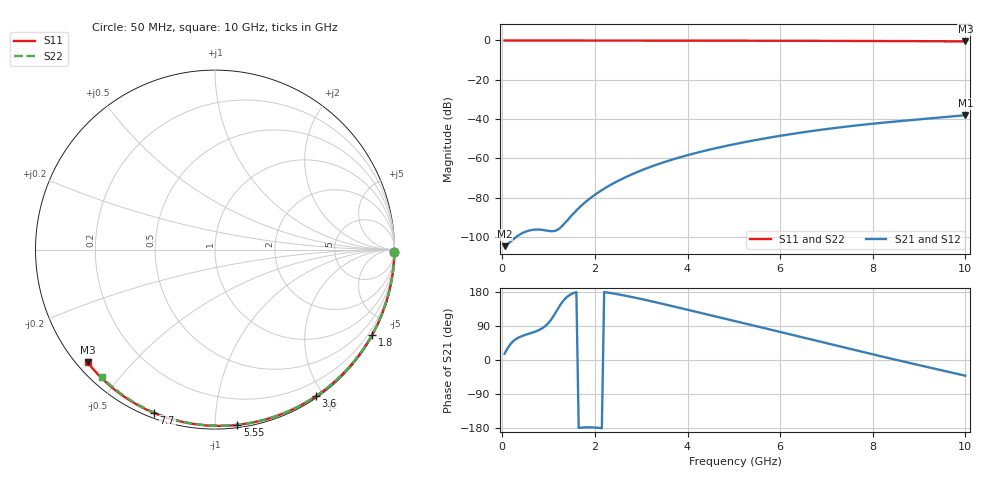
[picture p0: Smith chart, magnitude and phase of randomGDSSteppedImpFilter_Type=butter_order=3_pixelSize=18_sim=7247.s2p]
! freq	dB(S11)	phase(S11)	dB(S12)	phase(S12)
!  dB(S21)	phase(S21)	dB(S22)	phase(S22)
!S-par simulation data
#  GHz  S  DB  R 50
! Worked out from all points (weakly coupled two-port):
!   200 points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, 50 MHz to 10 GHz, reference 50 ohm
!   highest |S21| = -38.06 dB at 10 GHz (marker M1); lowest = -104.7 dB at 50 MHz (marker M2)
!   lowest |S11| = -0.5 dB at 10 GHz (marker M3), VSWR 37.23, Z = 1.54 - j19 ohm
!   |S11| at or under -10 dB: nowhere
!   |S22| runs from -0.4 to 0.0 dB; largest |S21 - S12| = 0
!   S11 on the Smith chart (normalised r, x): 50 MHz: open; 1.8 GHz: 0.03, -3.95; 3.6 GHz: 0.02, -1.90; 5.55 GHz: 0.02, -1.14; 7.7 GHz: 0.02, -0.69; 10 GHz: 0.03, -0.38
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0.05  -0.00 -0.8  -104.72 16.5  -104.72 16.5  -0.00 -0.8
0.45  -0.01 -7.2  -97.88 64.4  -97.88 64.4  -0.01 -6.8
0.9  -0.02 -14.3  -96.54 86.9  -96.54 86.9  -0.02 -13.6
1.75  -0.04 -27.6  -83.19 -178.0  -83.19 -178.0  -0.03 -26.2
1.8  -0.04 -28.4  -82.18 -177.6  -82.18 -177.6  -0.03 -27.0
1.9  -0.04 -29.9  -80.29 -177.6  -80.29 -177.6  -0.04 -28.4
1.95  -0.04 -30.7  -79.40 -177.8  -79.40 -177.8  -0.04 -29.2
2.25  -0.05 -35.3  -74.73 178.4  -74.73 178.4  -0.04 -33.5
2.55  -0.05 -39.9  -70.88 172.3  -70.88 172.3  -0.05 -37.9
2.95  -0.06 -45.9  -66.63 162.3  -66.63 162.3  -0.06 -43.6
3.4  -0.07 -52.6  -62.69 149.9  -62.69 149.9  -0.07 -49.9
3.6  -0.07 -55.5  -61.15 144.2  -61.15 144.2  -0.07 -52.7
3.9  -0.08 -59.8  -59.05 135.5  -59.05 135.5  -0.08 -56.9
4.3  -0.09 -65.5  -56.57 123.8  -56.57 123.8  -0.09 -62.3
5.05  -0.12 -76.0  -52.62 101.9  -52.62 101.9  -0.11 -72.3
5.55  -0.14 -82.8  -50.37 87.3  -50.37 87.3  -0.13 -78.8
6.1  -0.16 -90.1  -48.17 71.2  -48.17 71.2  -0.15 -85.7
6.7  -0.19 -97.8  -46.05 53.4  -46.05 53.4  -0.18 -93.2
7.7  -0.25 -110.5  -43.13 23.8  -43.13 23.8  -0.24 -105.2
8.35  -0.30 -118.5  -41.57 4.8  -41.57 4.8  -0.29 -112.8
9.2  -0.38 -128.8  -39.76 -19.1  -39.76 -19.1  -0.36 -122.5
10  -0.47 -138.4  -38.06 -41.5  -38.06 -41.5  -0.44 -131.6
